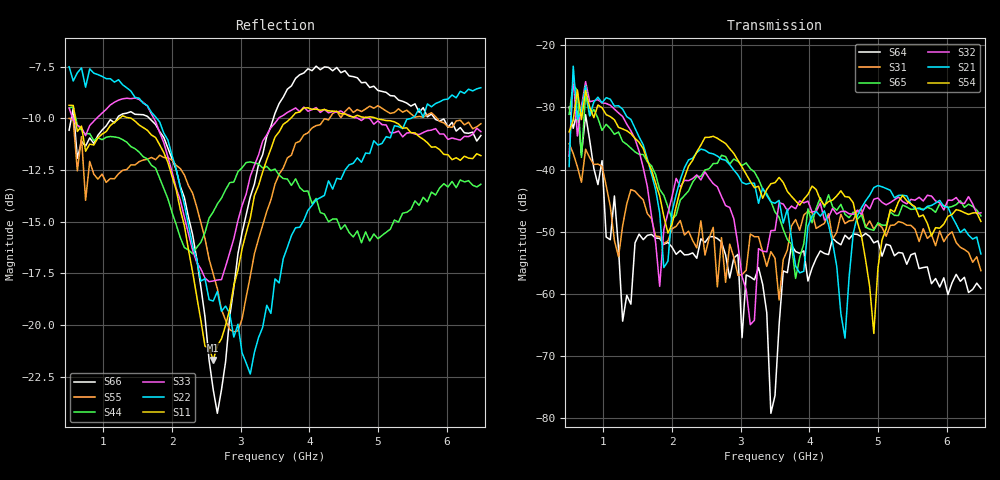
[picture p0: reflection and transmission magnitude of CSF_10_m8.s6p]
!Keysight Technologies,M9804A,MY58100912,A.14.10.03
!Date: Thursday, April 27, 2023 10:28:33
!Correction: S11(C  6-Port  )
!S12(C  6-Port  )
!S13(C  6-Port  )
!S14(C  6-Port  )
!S15(C  6-Port  )
!S16(C  6-Port  )
!S21(C  6-Port  )
!S22(C  6-Port  )
!S23(C  6-Port  )
!S24(C  6-Port  )
!S25(C  6-Port  )
!S26(C  6-Port  )
!S31(C  6-Port  )
!S32(C  6-Port  )
!S33(C  6-Port  )
!S34(C  6-Port  )
!S35(C  6-Port  )
!S36(C  6-Port  )
!S41(C  6-Port  )
!S42(C  6-Port  )
!S43(C  6-Port  )
!S44(C  6-Port  )
!S45(C  6-Port  )
!S46(C  6-Port  )
!S51(C  6-Port  )
!S52(C  6-Port  )
!S53(C  6-Port  )
!S54(C  6-Port  )
!S55(C  6-Port  )
!S56(C  6-Port  )
!S61(C  6-Port  )
!S62(C  6-Port  )
!S63(C  6-Port  )
!S64(C  6-Port  )
!S65(C  6-Port  )
!S66(C  6-Port  )
!S6P File: Measurement: :
# Hz S  RI  R 50
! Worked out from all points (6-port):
!   101 points, 500 MHz to 6.5 GHz, reference 50 ohm
!   strongest paths, dB at 500 MHz, 2 GHz, 3.5 GHz, 5 GHz, 6.5 GHz:
!     S54: -33.9, -48.8, -42.1, -55.9, -48.4
!     S21: -39.5, -46.8, -45.4, -42.6, -53.6
!     S32: -37.8, -44.3, -49.8, -44.6, -47.0
!     S65: -31.1, -48.0, -46.9, -48.6, -47.5
!     S31: -35.8, -49.5, -54.3, -48.8, -56.3
!     S64: -29.9, -52.5, -76.4, -51.5, -59.2
!   lowest |S11| = -21.7 dB at 2.6 GHz (marker M1), VSWR 1.18, Z = 42.7 + j2.1 ohm
!   |S11| at or under -10 dB: 589.4 MHz to 1.237 GHz (647.3 MHz wide, 70.9 % of centre); 1.402 GHz to 3.731 GHz (2.329 GHz wide, 90.7 % of centre); 4.969 GHz to end of sweep
